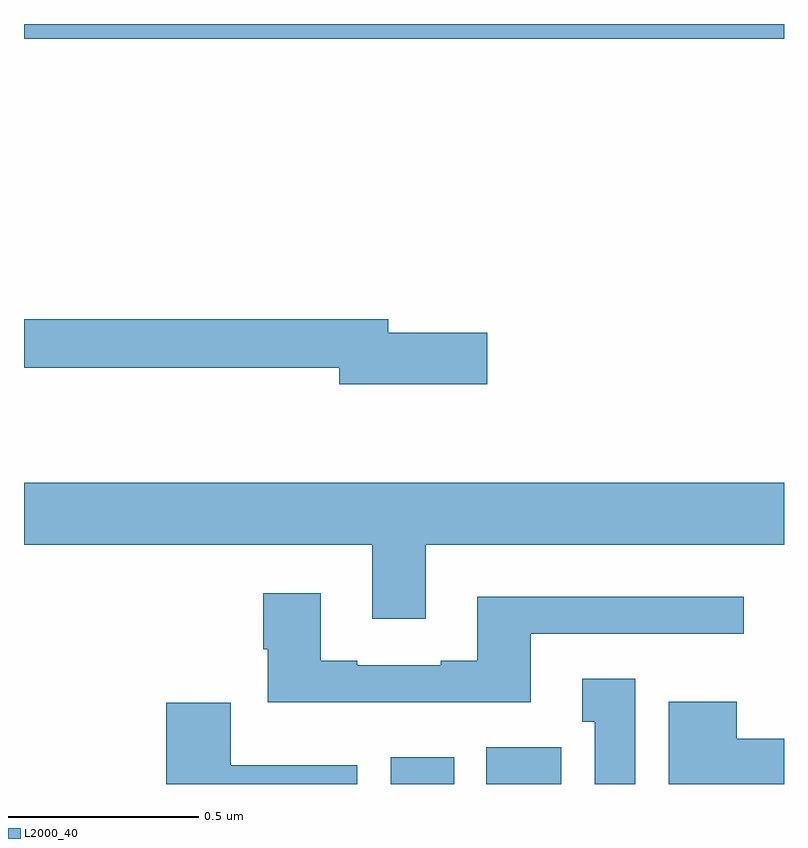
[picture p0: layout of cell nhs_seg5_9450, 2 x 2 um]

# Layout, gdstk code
import gdstk
lib = gdstk.Library(unit=1e-6, precision=1e-09)
def R(c, l, rs):  # rectangles x0, y0, x1, y1
    for r in rs: c.add(gdstk.rectangle(r[:2], r[2:], *l))
def P(c, l, *ps):  # polygons
    for p in ps: c.add(gdstk.Polygon(p, *l))
L2000_40 = (2000, 40)

nhs_seg5_9450 = lib.new_cell('nhs_seg5_9450')
R(nhs_seg5_9450, L2000_40, [(234.965,854.799,235.132,854.869), (235.217,854.799,235.414,854.896), (234,856.76,236,856.799)])
P(nhs_seg5_9450, L2000_40, [(235.219,855.986),(234.958,855.986),(234.958,856.022),(234,856.022),(234,855.894),(234.83,855.894),(234.83,855.851),(235.219,855.851)],
  [(235.057,855.428),(236,855.428),(236,855.592),(234,855.592),(234,855.428),(234.917,855.428),(234.917,855.234),(235.057,855.234)],
  [(235.333,855.195),(235.894,855.195),(235.894,855.292),(235.193,855.292),(235.193,855.124),(235.097,855.124),(235.097,855.111),(234.877,855.111),(234.877,855.124),(234.781,855.124),(234.781,855.301),(234.629,855.301),(234.629,855.153),(234.641,855.153),(234.641,855.014),(235.333,855.014)],
  [(235.609,855.076),(235.469,855.076),(235.469,854.963),(235.502,854.963),(235.502,854.799),(235.609,854.799)],
  [(236,854.918),(235.876,854.918),(235.876,855.016),(235.697,855.016),(235.697,854.799),(236,854.799)],
  [(234.877,854.848),(234.544,854.848),(234.544,855.013),(234.374,855.013),(234.374,854.799),(234.877,854.799)])

lib.write_gds('nhs_seg5_9450.gds')
